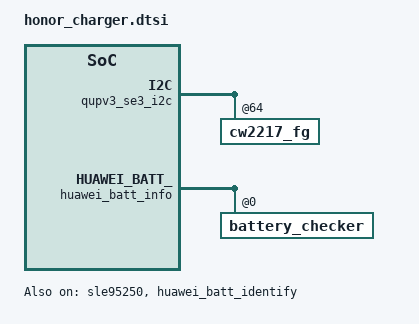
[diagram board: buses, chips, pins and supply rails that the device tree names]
&qupv3_se3_i2c {
	rt9426_battery@55{
		status = "disabled";
	};

	cw2217_fg@64 {
		status = "ok";
	};
};

&multi_btb_temp {
	sensor-names =
		"cw2217", "comp_para1",
		"bk_battery", "comp_para";
};

&sle95250 {
	status = "ok";
};

&huawei_batt_identify {
	status = "ok";
};

&huawei_batt_info {
	status = "ok";
	shield_ct_sign = <1>;
	battery_checker@0 {
		matchable = <&sle95250>;
		status = "ok";
	};
};
